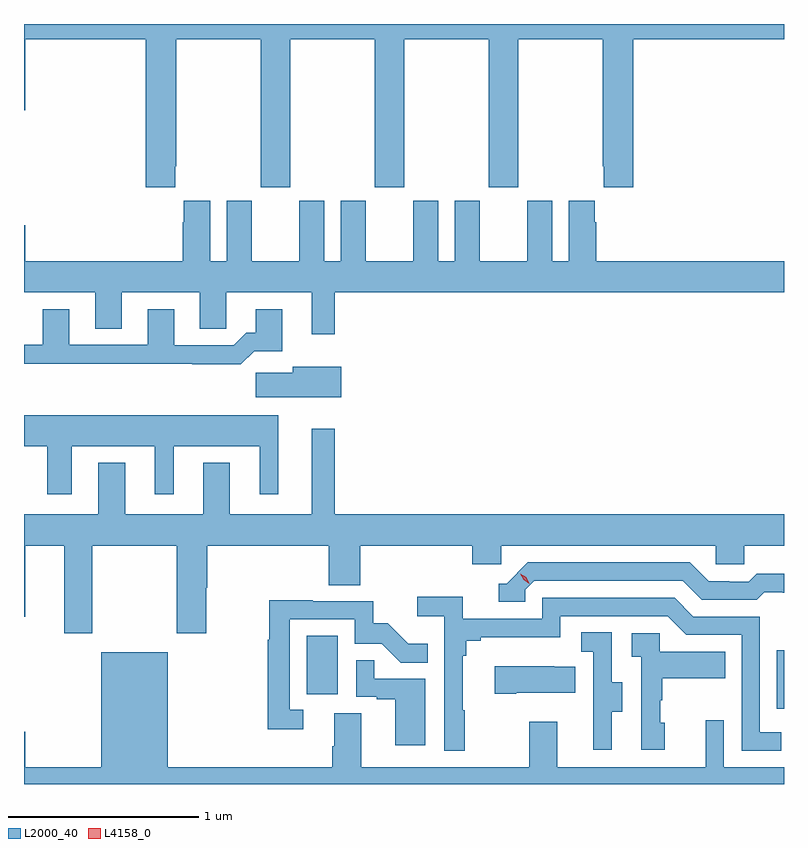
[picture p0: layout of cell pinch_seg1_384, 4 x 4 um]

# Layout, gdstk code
import gdstk
lib = gdstk.Library(unit=1e-6, precision=1e-09)
def R(c, l, rs):  # rectangles x0, y0, x1, y1
    for r in rs: c.add(gdstk.rectangle(r[:2], r[2:], *l))
def P(c, l, *ps):  # polygons
    for p in ps: c.add(gdstk.Polygon(p, *l))
L2000_40 = (2000, 40)
L4158_0 = (4158, 0)

pinch_seg1_384 = lib.new_cell('pinch_seg1_384')
R(pinch_seg1_384, L2000_40, [(996.3,529.56,996.337,529.87), (993.824,529.638,993.988,529.945)])
P(pinch_seg1_384, L2000_40, [(993.133,532.417),(993.138,532.417),(993.138,533.084),(993.583,533.084),(993.583,532.305),(993.738,532.305),(993.738,533.084),(994.183,533.084),(994.183,532.305),(994.338,532.305),(994.338,533.084),(994.783,533.084),(994.783,532.305),(994.938,532.305),(994.938,533.084),(995.383,533.084),(995.383,532.417),(995.387,532.417),(995.387,532.305),(995.543,532.305),(995.543,533.084),(996.337,533.084),(996.337,533.165),(992.337,533.165),(992.337,532.71),(992.344,532.71),(992.344,533.084),(992.978,533.084),(992.978,532.305),(993.133,532.305)],
  [(993.973,531.752),(996.337,531.752),(996.337,531.916),(995.348,531.916),(995.348,532.121),(995.341,532.121),(995.341,532.234),(995.204,532.234),(995.204,531.916),(995.116,531.916),(995.116,532.234),(994.985,532.234),(994.985,531.916),(994.735,531.916),(994.735,532.234),(994.604,532.234),(994.604,531.916),(994.516,531.916),(994.516,532.234),(994.385,532.234),(994.385,531.916),(994.135,531.916),(994.135,532.234),(994.004,532.234),(994.004,531.916),(993.916,531.916),(993.916,532.234),(993.785,532.234),(993.785,531.916),(993.535,531.916),(993.535,532.234),(993.404,532.234),(993.404,531.916),(993.316,531.916),(993.316,532.234),(993.179,532.234),(993.179,532.121),(993.173,532.121),(993.173,531.916),(992.344,531.916),(992.344,532.105),(992.337,532.105),(992.337,531.752),(992.711,531.752),(992.711,531.562),(992.851,531.562),(992.851,531.752),(993.263,531.752),(993.263,531.562),(993.402,531.562),(993.402,531.752),(993.851,531.752),(993.851,531.531),(993.973,531.531)],
  [(993.548,531.443),(993.697,531.443),(993.697,531.664),(993.557,531.664),(993.557,531.541),(993.508,531.541),(993.441,531.474),(993.127,531.474),(993.127,531.664),(992.987,531.664),(992.987,531.477),(992.575,531.477),(992.575,531.664),(992.435,531.664),(992.435,531.477),(992.337,531.477),(992.337,531.376),(993.223,531.376),(993.223,531.374),(993.479,531.374)],
  [(994.006,531.361),(993.752,531.361),(993.752,531.329),(993.558,531.329),(993.558,531.2),(994.006,531.2)],
  [(992.587,530.942),(993.026,530.942),(993.026,530.691),(993.124,530.691),(993.124,530.942),(993.578,530.942),(993.578,530.691),(993.676,530.691),(993.676,531.106),(992.337,531.106),(992.337,530.942),(992.459,530.942),(992.459,530.691),(992.587,530.691)],
  [(993.281,530.584),(992.869,530.584),(992.869,530.857),(992.729,530.857),(992.729,530.584),(992.337,530.584),(992.337,530.046),(992.344,530.046),(992.344,530.42),(992.549,530.42),(992.549,529.959),(992.697,529.959),(992.697,530.42),(993.142,530.42),(993.142,529.959),(993.297,529.959),(993.297,530.198),(993.302,530.198),(993.302,530.42),(993.941,530.42),(993.941,530.212),(994.106,530.212),(994.106,530.42),(994.697,530.42),(994.697,530.322),(994.848,530.322),(994.848,530.42),(995.979,530.42),(995.979,530.322),(996.129,530.322),(996.129,530.42),(996.337,530.42),(996.337,530.584),(993.973,530.584),(993.973,531.034),(993.851,531.034),(993.851,530.584),(993.421,530.584),(993.421,530.857),(993.281,530.857)],
  [(994.974,530.187),(995.022,530.235),(995.805,530.235),(995.904,530.136),(996.193,530.136),(996.232,530.175),(996.331,530.175),(996.331,530.172),(996.337,530.172),(996.337,530.272),(996.193,530.272),(996.151,530.229),(996.048,530.229),(996.048,530.232),(995.941,530.232),(995.842,530.331),(994.989,530.331),(994.878,530.22),(994.835,530.22),(994.835,530.124),(994.974,530.124)],
  [(994.657,529.553),(994.645,529.553),(994.645,529.841),(994.664,529.841),(994.664,529.918),(994.741,529.918),(994.741,529.937),(995.16,529.937),(995.16,530.049),(995.724,530.049),(995.823,529.95),(996.114,529.95),(996.114,529.341),(996.323,529.341),(996.323,529.437),(996.21,529.437),(996.21,530.046),(995.86,530.046),(995.761,530.145),(995.064,530.145),(995.064,530.034),(994.646,530.034),(994.646,530.15),(994.407,530.15),(994.407,530.048),(994.548,530.048),(994.548,529.341),(994.657,529.341)],
  [(993.808,529.557),(993.735,529.557),(993.735,530.031),(994.077,530.031),(994.077,529.902),(994.221,529.902),(994.319,529.804),(994.463,529.804),(994.463,529.903),(994.359,529.903),(994.252,530.01),(994.176,530.01),(994.176,530.127),(993.857,530.127),(993.857,530.132),(993.627,530.132),(993.627,529.924),(993.619,529.924),(993.619,529.452),(993.808,529.452)],
  [(995.431,529.546),(995.485,529.546),(995.485,529.701),(995.43,529.701),(995.43,529.964),(995.271,529.964),(995.271,529.861),(995.334,529.861),(995.334,529.557),(995.333,529.557),(995.333,529.344),(995.431,529.344)],
  [(995.71,529.488),(995.685,529.488),(995.685,529.607),(995.695,529.607),(995.695,529.721),(996.029,529.721),(996.029,529.861),(995.682,529.861),(995.682,529.959),(995.535,529.959),(995.535,529.835),(995.586,529.835),(995.586,529.344),(995.71,529.344)],
  [(996.337,529.252),(996.021,529.252),(996.021,529.501),(995.924,529.501),(995.924,529.252),(995.143,529.252),(995.143,529.492),(994.996,529.492),(994.996,529.252),(994.111,529.252),(994.111,529.538),(993.971,529.538),(993.971,529.364),(993.959,529.364),(993.959,529.252),(993.094,529.252),(993.094,529.858),(992.744,529.858),(992.744,529.252),(992.344,529.252),(992.344,529.441),(992.337,529.441),(992.337,529.165),(996.337,529.165)],
  [(994.45,529.719),(994.181,529.719),(994.181,529.817),(994.086,529.817),(994.086,529.623),(994.193,529.623),(994.193,529.611),(994.292,529.611),(994.292,529.368),(994.45,529.368)],
  [(994.927,529.646),(995.237,529.646),(995.237,529.783),(995.129,529.783),(995.129,529.786),(994.815,529.786),(994.815,529.639),(994.927,529.639)])
P(pinch_seg1_384, L4158_0, [(994.996,530.22),(994.966,530.239),(994.95,530.272),(994.95,530.272),(994.95,530.272),(994.981,530.253),(994.997,530.22),(994.997,530.22)])

lib.write_gds('pinch_seg1_384.gds')
